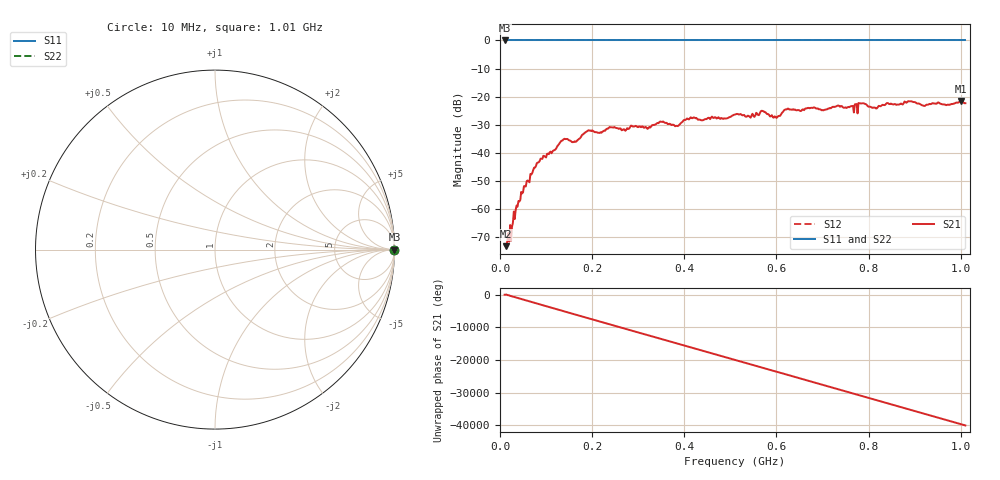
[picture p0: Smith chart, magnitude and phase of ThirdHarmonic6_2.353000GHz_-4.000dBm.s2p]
! 8/17/2025 3:33:29 AM
! C:\ANRITSUVNA\TEMP\TEMP.S2P
! CHANNEL.1
! TR.MEASUREMENT
! RAW.DATA
! RF.CORRECTION.OFF
! AVERAGING.OFF
! IF.BANDWIDTH: 5KHZ
! SWEEPTYPE:  FREQ.SWEEP(Linear)
! Reference Plane Port Info
! PORT:  PORT1  PORT2
! DISTANCE:  0  m  0  m
! TIME:  0  s  0  s
! PHASE.OFFSET:  0  deg.  0  deg.
! LOSS:  0  dB  0  dB
! REF.LOSS:  0  dB  0  dB
! REF.FREQ:  0  Hz  0  Hz
! Power Info
! POWER:  -20  dBm  -20  dBm
! EFF.POWER:  -20  dBm  -20  dBm
! SOURCE.ATTEN:  0  dB  0  dB
! TEST.ATTEN:  0  dB  0  dB
# GHZ S RI R 50.0
! FREQ.GHZ  S11RE  S11IM  S21RE  S21IM  S12RE  S12IM  S22RE  S22IM
!; PortSelection: Port_12
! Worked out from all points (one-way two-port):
!   501 points, 10 MHz to 1.01 GHz, reference 50 ohm
!   highest |S21| = -21.54 dB at 1 GHz (marker M1); lowest = -73.2 dB at 12 MHz (marker M2)
!   lowest |S11| = 0.0 dB at 10 MHz (marker M3)
!   |S11| at or under -10 dB: nowhere
!   |S22| runs from 0.0 to 0.0 dB; largest |S21 - S12| = 1.1
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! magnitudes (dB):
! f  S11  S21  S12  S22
! 10 MHz  0.0  -72.8  0.0  0.0
! 12 MHz  0.0  -73.2  0.0  0.0
! 24 MHz  0.0  -71.3  0.0  0.0
! 34 MHz  0.0  -60.3  0.0  0.0
! 50 MHz  0.0  -54.0  0.0  0.0
! 78 MHz  0.0  -44.7  0.0  0.0
! 136 MHz  0.0  -35.6  0.0  0.0
! 162 MHz  0.0  -35.9  0.0  0.0
! 178 MHz  0.0  -33.7  0.0  0.0
! 192 MHz  0.0  -32.0  0.0  0.0
! 322 MHz  0.0  -31.2  0.0  0.0
! 344 MHz  0.0  -29.4  0.0  0.0
! 384 MHz  0.0  -30.4  0.0  0.0
! 416 MHz  0.0  -27.6  0.0  0.0
! 510 MHz  0.0  -26.4  0.0  0.0
! 570 MHz  0.0  -25.1  0.0  0.0
! 598 MHz  0.0  -27.2  0.0  0.0
! 622 MHz  0.0  -24.6  0.0  0.0
! 678 MHz  0.0  -24.0  0.0  0.0
! 844 MHz  0.0  -22.6  0.0  0.0
! 1 GHz  0.0  -21.5  0.0  0.0
! 1.01 GHz  0.0  -22.3  0.0  0.0
